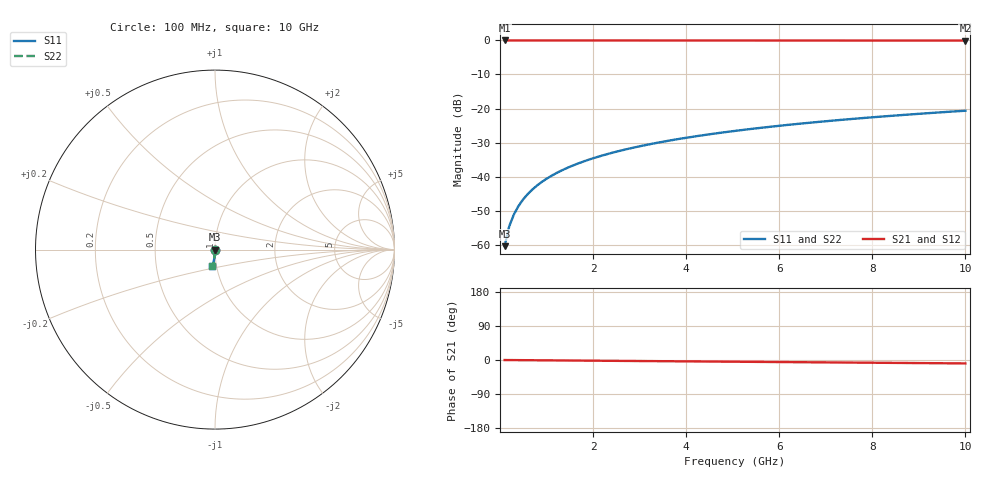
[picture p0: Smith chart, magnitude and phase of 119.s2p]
# Hz S RI R 50.00
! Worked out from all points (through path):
!   100 points, 100 MHz to 10 GHz, reference 50 ohm
!   highest |S21| = 0.00 dB at 100 MHz (marker M1); lowest = 0.0 dB at 10 GHz (marker M2)
!   group delay of S21, straight-line fit = 2.5 ps
!   lowest |S11| = -60.4 dB at 100 MHz (marker M3), VSWR 1.00, Z = 50 - j0.0928 ohm
!   |S11| at or under -10 dB: start of sweep to end of sweep
!   |S22| runs from -60.4 to -20.6 dB; largest |S21 - S12| = 0
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1e8  0.000205 -0.000928  0.9998 -0.00157  0.9998 -0.00157  0.000205 -0.000928
2e8  0.000201 -0.00186  0.9998 -0.00313  0.9998 -0.00313  0.000201 -0.00186
3e8  0.000194 -0.00278  0.9998 -0.0047  0.9998 -0.0047  0.000194 -0.00278
4e8  0.000183 -0.00371  0.9998 -0.00627  0.9998 -0.00627  0.000183 -0.00371
5e8  0.00017 -0.00464  0.9997 -0.00783  0.9997 -0.00783  0.00017 -0.00464
6e8  0.000153 -0.00557  0.9997 -0.0094  0.9997 -0.0094  0.000153 -0.00557
7e8  0.000134 -0.0065  0.9997 -0.011  0.9997 -0.011  0.000134 -0.0065
8e8  0.000111 -0.00743  0.9997 -0.0125  0.9997 -0.0125  0.000111 -0.00743
9e8  8.57e-05 -0.00835  0.9996 -0.0141  0.9996 -0.0141  8.57e-05 -0.00835
1.1e9  2.6e-05 -0.0102  0.9996 -0.0172  0.9996 -0.0172  2.6e-05 -0.0102
1.4e9  -8.54e-05 -0.013  0.9994 -0.0219  0.9994 -0.0219  -8.54e-05 -0.013
1.8e9  -0.000275 -0.0167  0.9992 -0.0282  0.9992 -0.0282  -0.000275 -0.0167
2.1e9  -0.000448 -0.0195  0.999 -0.0329  0.999 -0.0329  -0.000448 -0.0195
2.5e9  -0.000719 -0.0232  0.9987 -0.0392  0.9987 -0.0392  -0.000719 -0.0232
2.9e9  -0.00104 -0.0269  0.9983 -0.0454  0.9983 -0.0454  -0.00104 -0.0269
3.4e9  -0.0015 -0.0315  0.9978 -0.0533  0.9978 -0.0533  -0.0015 -0.0315
4.2e9  -0.00239 -0.0389  0.9968 -0.0658  0.9968 -0.0658  -0.00239 -0.0389
5.1e9  -0.00362 -0.0472  0.9954 -0.0799  0.9954 -0.0799  -0.00362 -0.0472
5.9e9  -0.00491 -0.0546  0.9939 -0.0923  0.9939 -0.0923  -0.00491 -0.0546
6.7e9  -0.00639 -0.0619  0.9922 -0.1048  0.9922 -0.1048  -0.00639 -0.0619
8.4e9  -0.0101 -0.0774  0.9879 -0.1312  0.9879 -0.1312  -0.0101 -0.0774
1e10  -0.0144 -0.0917  0.983 -0.1559  0.983 -0.1559  -0.0144 -0.0917
